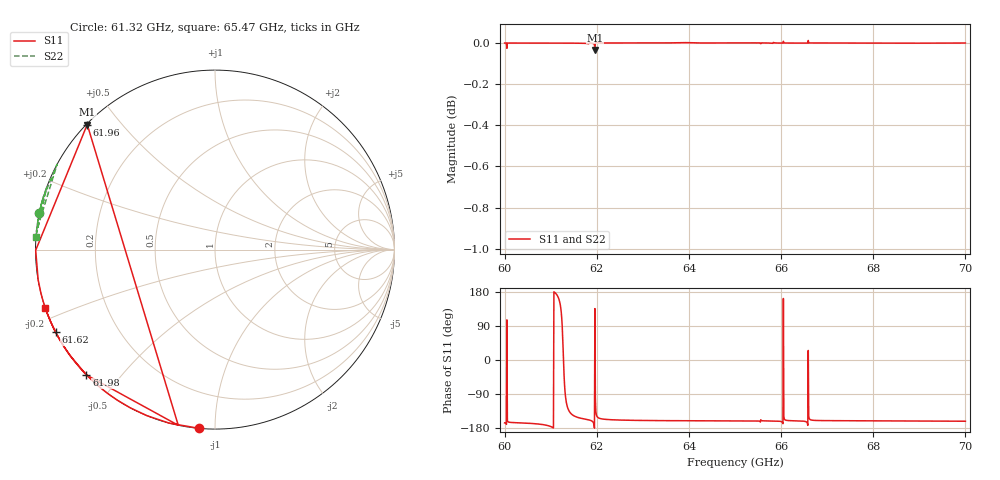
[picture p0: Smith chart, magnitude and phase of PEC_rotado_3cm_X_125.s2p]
! TOUCHSTONE file generated by CST MICROWAVE STUDIO
! Date and time: Sat Feb 17 15:53:12 2024
! Project name: metal_rotado.cst
! Parameters = {PX=1.25; angX=2; angY=2}
! Header version: 2018
! Port assignment regex: !\s*Touchstone port\s*([0-9]+)\s*=\s*(CST MWS port|CST DS port)\s*([0-9]+|Zmin|Zmax)\s*\(\"(.*)\"\)(\s*mode\s*([0-9]+))?.*
! Touchstone port assignment:
! Touchstone port 1 = CST MWS port 1 ("")
! Touchstone port 2 = CST MWS port 2 ("")
# GHz S MA R 376.7
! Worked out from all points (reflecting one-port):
!   1001 points, 60 GHz to 70 GHz, reference 376.7 ohm
!   lowest |S11| = 0.0 dB at 61.96 GHz (marker M1), VSWR 523.25, Z = 0.84 + j154 ohm
!   phase of S11 starts at -166 deg and turns -716 deg over the sweep
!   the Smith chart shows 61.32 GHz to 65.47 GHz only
!   S11 on the Smith chart (normalised r, x): 61.32 GHz: 0.00, -0.92; 61.62 GHz: 0.00, -0.24; 61.96 GHz: 0.00, +0.41; 61.98 GHz: -0.00, -0.41; 65.47 GHz: 0.00, -0.17
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60  1 -165.9  1.606e-65 180.0  1.606e-65 180.0  1 157.8
60.22  1 -165.3  1.305e-65 180.0  1.305e-65 180.0  0.9999 143.5
60.29  1 -165.7  1.304e-65 179.9  1.304e-65 179.9  1 123.3
60.35  1 -166.0  1.3e-65 180.0  1.3e-65 180.0  1 31.0
60.41  1 -166.3  1.204e-65 -179.9  1.204e-65 -179.9  0.9998 -135.1
60.48  1 -166.7  1.205e-65 -180.0  1.205e-65 -180.0  0.9999 -168.3
61.13  1 172.7  1.104e-65 180.0  1.104e-65 180.0  1 169.2
61.19  1 156.0  1.104e-65 179.9  1.104e-65 179.9  1 168.9
61.22  1 136.0  1.003e-65 179.9  1.003e-65 179.9  1 168.7
61.27  1 28.2  1e-65 179.9  1e-65 179.9  1 168.5
61.32  1 -95.0  1.002e-65 -179.9  1.002e-65 -179.9  1 168.3
61.4  0.9999 -134.8  1.003e-65 -179.9  1.003e-65 -179.9  1 168.0
61.62  0.9999 -152.7  9.033e-66 -180.0  9.033e-66 -180.0  1 167.3
61.67  0.9999 -154.1  9.034e-66 -180.0  9.034e-66 -180.0  1 167.1
61.96  0.9962 135.6  6.02e-66 179.9  6.02e-66 179.9  1 167.2
61.98  1 -135.7  6.02e-66 -179.9  6.02e-66 -179.9  1 167.1
63.34  1 -160.0  3.011e-66 -180.0  3.011e-66 -180.0  1 165.4
65  1 -160.6  0 0.0  0 0.0  1 164.4
65.47  1 -160.9  0 0.0  0 0.0  1 175.8
66.67  1 -158.7  1.205e-65 0.0  1.205e-65 0.0  1 163.8
68.34  0.9999 -160.5  1.405e-65 0.0  1.405e-65 0.0  0.9999 162.4
70  1 -161.6  0 0.0  0 0.0  1 157.3
